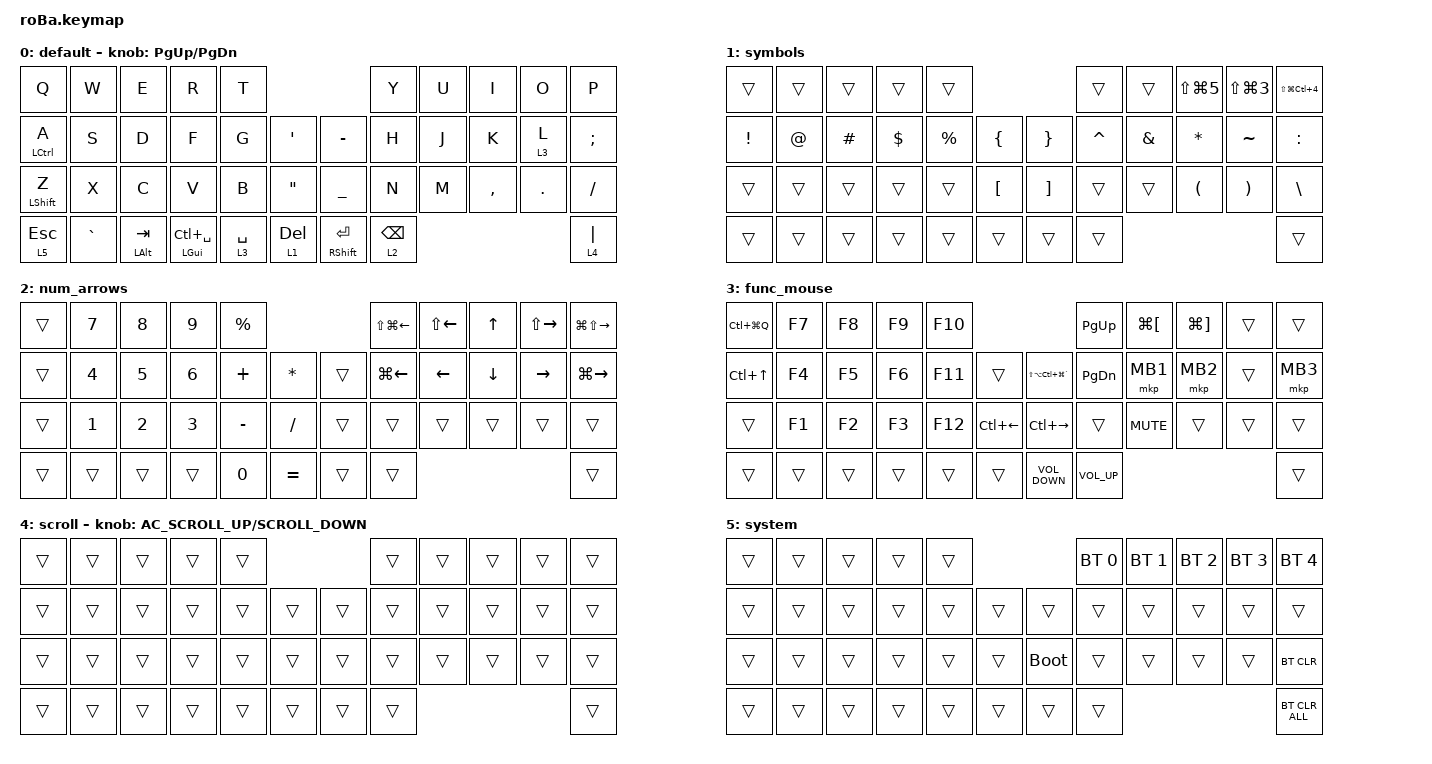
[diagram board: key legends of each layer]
#include <behaviors.dtsi>
#include <dt-bindings/zmk/bt.h>
#include <dt-bindings/zmk/keys.h>
#include <dt-bindings/zmk/pointing.h>

&mt {
    flavor = "balanced";
    quick-tap-ms = <0>;
};

&trackball {
    // automouse-layer = <3>;

    scroll-layers = <1 4>;

    // arrows {
    //     layers = <3>;
    //     bindings =
    //         <&kp RIGHT_ARROW>,
    //         <&kp LEFT_ARROW>,
    //         <&kp UP_ARROW>,
    //         <&kp DOWN_ARROW>;
    //     tick = <10>;
    //     wait-ms = <5>;
    //     tap-ms = <5>;
    // };
};

/ {
    combos {
        compatible = "zmk,combos";

        tab {
            bindings = <&kp TAB>;
            key-positions = <0 1>;
        };

        left-bracket {
            bindings = <&kp LEFT_BRACKET>;
            key-positions = <13 12>;
        };

        right-bracket {
            bindings = <&kp RIGHT_BRACKET>;
            key-positions = <18 19>;
        };

        left-brace {
            bindings = <&kp LEFT_BRACE>;
            key-positions = <25 24>;
        };

        right-brace {
            bindings = <&kp RIGHT_BRACE>;
            key-positions = <30 31>;
        };

        minus {
            bindings = <&kp MINUS>;
            key-positions = <7 8>;
        };

        underscore {
            bindings = <&kp UNDERSCORE>;
            key-positions = <8 9>;
        };

        single-quote {
            bindings = <&kp SINGLE_QUOTE>;
            key-positions = <19 20>;
        };

        double-quote {
            bindings = <&kp DOUBLE_QUOTES>;
            key-positions = <20 21>;
        };

        clipboard {
            bindings = <&cmd_spc_4>;
            key-positions = <23 25>;
        };
    };

    macros {
        combo: combo {
            compatible = "zmk,behavior-macro-one-param";
            #binding-cells = <1>;
            bindings = <&to 0 &macro_param_1to1 &kp MACRO_PLACEHOLDER>;
            label = "COMBO";
        };

        cmd_spc_4: cmd_spc_4 {
            compatible = "zmk,behavior-macro";
            #binding-cells = <0>;
            bindings = <&kp LG(SPACE) &kp LG(NUMBER_4)>;
            label = "CMD_SPC_4";
        };
    };

    behaviors {
        lt_to_layer_0: lt_to_layer_0 {
            compatible = "zmk,behavior-hold-tap";
            label = "LAYER_TAP_TO_0";
            bindings = <&mo>, <&combo>;

            #binding-cells = <2>;
            tapping-term-ms = <200>;
        };
    };

    keymap {
        compatible = "zmk,keymap";

        default {
            bindings = <
&kp Q               &kp W      &kp E             &kp R                   &kp T                                                      &kp Y            &kp U  &kp I      &kp O    &kp P
&mt LEFT_CONTROL A  &kp S      &kp D             &kp F                   &kp G        &kp SQT                &kp MINUS              &kp H            &kp J  &kp K      &lt 3 L  &kp SEMICOLON
&mt LEFT_SHIFT Z    &kp X      &kp C             &kp V                   &kp B        &kp DOUBLE_QUOTES      &kp UNDERSCORE         &kp N            &kp M  &kp COMMA  &kp DOT  &kp SLASH
&lt 5 ESCAPE        &kp GRAVE  &mt LEFT_ALT TAB  &mt LEFT_GUI LC(SPACE)  &lt 3 SPACE  &lt 1 DEL              &mt RIGHT_SHIFT ENTER  &lt 2 BACKSPACE                             &lt 4 PIPE
            >;

            sensor-bindings = <&inc_dec_kp PG_UP PAGE_DOWN>;
        };

        symbols {
            bindings = <
&trans           &trans       &trans    &trans      &trans                                                &trans     &trans         &kp LS(LG(NUMBER_5))  &kp LS(LG(NUMBER_3))   &kp LS(LG(LC(NUMBER_4)))
&kp EXCLAMATION  &kp AT_SIGN  &kp HASH  &kp DOLLAR  &kp PERCENT  &kp LEFT_BRACE        &kp RIGHT_BRACE    &kp CARET  &kp AMPERSAND  &kp ASTERISK          &kp TILDE              &kp COLON
&trans           &trans       &trans    &trans      &trans       &kp LEFT_BRACKET      &kp RIGHT_BRACKET  &trans     &trans         &kp LEFT_PARENTHESIS  &kp RIGHT_PARENTHESIS  &kp BACKSLASH
&trans           &trans       &trans    &trans      &trans       &trans                &trans             &trans                                                                 &trans
            >;
        };

        num_arrows {
            bindings = <
&trans  &kp NUMBER_7  &kp NUMBER_8  &kp NUMBER_9  &kp PERCENT                             &kp LS(LG(LEFT_ARROW))  &kp LS(LEFT_ARROW)  &kp UP_ARROW    &kp LS(RIGHT_ARROW)  &kp LG(LS(RIGHT_ARROW))
&trans  &kp NUMBER_4  &kp NUMBER_5  &kp NUMBER_6  &kp PLUS      &kp ASTERISK      &trans  &kp LG(LEFT_ARROW)      &kp LEFT_ARROW      &kp DOWN_ARROW  &kp RIGHT_ARROW      &kp LG(RIGHT_ARROW)
&trans  &kp NUMBER_1  &kp NUMBER_2  &kp NUMBER_3  &kp MINUS     &kp SLASH         &trans  &trans                  &trans              &trans          &trans               &trans
&trans  &trans        &trans        &trans        &kp NUMBER_0  &kp EQUAL         &trans  &trans                                                                           &trans
            >;
        };

        func_mouse {
            bindings = <
&kp LC(LG(Q))     &kp F7  &kp F8  &kp F9  &kp F10                                                     &kp PAGE_UP      &kp LG(LEFT_BRACKET)  &kp LG(RIGHT_BRACKET)  &trans  &trans
&kp LC(UP_ARROW)  &kp F4  &kp F5  &kp F6  &kp F11  &trans                  &kp LS(LA(LC(LG(GRAVE))))  &kp PAGE_DOWN    &mkp MB1              &mkp MB2               &trans  &mkp MB3
&trans            &kp F1  &kp F2  &kp F3  &kp F12  &kp LC(LEFT_ARROW)      &kp LC(RIGHT_ARROW)        &trans           &kp C_MUTE            &trans                 &trans  &trans
&trans            &trans  &trans  &trans  &trans   &trans                  &kp C_VOLUME_DOWN          &kp C_VOLUME_UP                                                       &trans
            >;
        };

        scroll {
            bindings = <
&trans  &trans  &trans  &trans  &trans                      &trans  &trans  &trans  &trans  &trans
&trans  &trans  &trans  &trans  &trans  &trans      &trans  &trans  &trans  &trans  &trans  &trans
&trans  &trans  &trans  &trans  &trans  &trans      &trans  &trans  &trans  &trans  &trans  &trans
&trans  &trans  &trans  &trans  &trans  &trans      &trans  &trans                          &trans
            >;

            sensor-bindings = <&inc_dec_kp C_AC_SCROLL_UP K_SCROLL_DOWN>;
        };

        system {
            bindings = <
&trans  &trans  &trans  &trans  &trans                           &bt BT_SEL 0  &bt BT_SEL 1  &bt BT_SEL 2  &bt BT_SEL 3  &bt BT_SEL 4
&trans  &trans  &trans  &trans  &trans  &trans      &trans       &trans        &trans        &trans        &trans        &trans
&trans  &trans  &trans  &trans  &trans  &trans      &bootloader  &trans        &trans        &trans        &trans        &bt BT_CLR
&trans  &trans  &trans  &trans  &trans  &trans      &trans       &trans                                                  &bt BT_CLR_ALL
            >;
        };
    };
};
